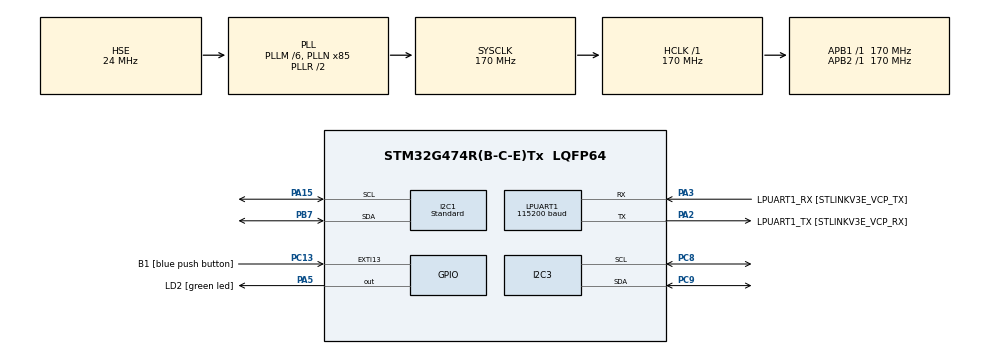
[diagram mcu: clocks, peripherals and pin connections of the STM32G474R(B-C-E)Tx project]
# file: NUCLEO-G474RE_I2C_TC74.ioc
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I2C1.I2C_Speed_Mode=I2C_Standard
I2C1.Timing=0x30A0A7FB
I2C3.Timing=0x30A0A7FB
LPUART1.BaudRate=115200
LPUART1.WordLength=UART_WORDLENGTH_8B
Mcu.Family=STM32G4
Mcu.Name=STM32G474R(B-C-E)Tx
Mcu.Package=LQFP64
NVIC.EXTI15_10_IRQn=true\:0\:0\:false\:false\:true\:true\:true\:true
NVIC.PriorityGroup=NVIC_PRIORITYGROUP_4
PA13.GPIO_Label=T_SWDIO
PA13.Mode=Trace_Asynchronous_SW
PA13.Signal=SYS_JTMS-SWDIO
PA14.GPIO_Label=T_SWCLK
PA14.Mode=Trace_Asynchronous_SW
PA14.Signal=SYS_JTCK-SWCLK
PA15.Mode=I2C
PA15.Signal=I2C1_SCL
PA2.GPIO_Label=LPUART1_TX [STLINKV3E_VCP_RX]
PA2.Mode=Asynchronous
PA2.Signal=LPUART1_TX
PA3.GPIO_Label=LPUART1_RX [STLINKV3E_VCP_TX]
PA3.Mode=Asynchronous
PA3.Signal=LPUART1_RX
PA5.GPIO_Label=LD2 [green led]
PA5.Signal=GPIO_Output
PB3.GPIO_Label=T_SWO
PB3.Mode=Trace_Asynchronous_SW
PB3.Signal=SYS_JTDO-SWO
PB7.Mode=I2C
PB7.Signal=I2C1_SDA
PC13.GPIO_Label=B1 [blue push button]
PC13.Signal=GPXTI13
PC14-OSC32_IN.Mode=LSE-External-Oscillator
PC14-OSC32_IN.Signal=RCC_OSC32_IN
PC15-OSC32_OUT.Mode=LSE-External-Oscillator
PC15-OSC32_OUT.Signal=RCC_OSC32_OUT
PC8.Mode=I2C
PC8.Signal=I2C3_SCL
PC9.Mode=I2C
PC9.Signal=I2C3_SDA
PF0-OSC_IN.Mode=HSE-External-Oscillator
PF0-OSC_IN.Signal=RCC_OSC_IN
PF1-OSC_OUT.Mode=HSE-External-Oscillator
PF1-OSC_OUT.Signal=RCC_OSC_OUT
ProjectManager.HeapSize=0x200
ProjectManager.StackSize=0x400
ProjectManager.TargetToolchain=STM32CubeIDE
RCC.ADC12Freq_Value=170000000
RCC.ADC345Freq_Value=170000000
RCC.AHBFreq_Value=170000000
RCC.APB1Freq_Value=170000000
RCC.APB1TimFreq_Value=170000000
RCC.APB2Freq_Value=170000000
RCC.APB2TimFreq_Value=170000000
RCC.CortexFreq_Value=170000000
RCC.EXTERNAL_CLOCK_VALUE=12288000
RCC.HCLKFreq_Value=170000000
RCC.HSE_VALUE=24000000
RCC.HSI48_VALUE=48000000
RCC.HSI_VALUE=16000000
RCC.PLLM=RCC_PLLM_DIV6
RCC.PLLN=85
RCC.PLLSourceVirtual=RCC_PLLSOURCE_HSE
RCC.RTCClockSelection=RCC_RTCCLKSOURCE_LSE
RCC.SYSCLKFreq_VALUE=170000000
RCC.SYSCLKSource=RCC_SYSCLKSOURCE_PLLCLK
RCC.USBFreq_Value=170000000
RCC.VCOOutputFreq_Value=340000000
VP_SYS_VS_DBSignals.Mode=DisableDeadBatterySignals
board=NUCLEO-G474RE

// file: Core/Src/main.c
/* USER CODE BEGIN Header */
/**
 ******************************************************************************
 * @file           : main.c
 * @brief          : Main program body
 ******************************************************************************
 * @attention
 *
 * Copyright (c) 2023 STMicroelectronics.
 * All rights reserved.
 *
 * This software is licensed under terms that can be found in the LICENSE file
 * in the root directory of this software component.
 * If no LICENSE file comes with this software, it is provided AS-IS.
 *
 ******************************************************************************
 */
/* USER CODE END Header */
#include "main.h"

/* USER CODE BEGIN Includes */

#include <stdio.h>

/* USER CODE END Includes */

I2C_HandleTypeDef hi2c1;
I2C_HandleTypeDef hi2c3;

UART_HandleTypeDef hlpuart1;

void SystemClock_Config(void);
static void MX_GPIO_Init(void);
static void MX_LPUART1_UART_Init(void);
static void MX_I2C1_Init(void);
static void MX_I2C3_Init(void);
/* USER CODE BEGIN PFP */

#define PUTCHAR_PROTOTYPE int __io_putchar(int ch)

/* USER CODE END PFP */

int main(void)
{

  /* MCU Configuration--------------------------------------------------------*/

  /* Reset of all peripherals, Initializes the Flash interface and the Systick. */
  HAL_Init();

  /* Configure the system clock */
  SystemClock_Config();

  /* Initialize all configured peripherals */
  MX_GPIO_Init();
  MX_LPUART1_UART_Init();
  MX_I2C1_Init();
  MX_I2C3_Init();
  /* USER CODE BEGIN 2 */

	printf("\n\n=======================================\n");
	printf("Start >> NUCLEO-G474RE_I2C_TC74 \n");

	printf("Scanning I2C bus:......... \n");
	HAL_StatusTypeDef result;
	uint8_t cntr, numdetected = 0, detecteddevices[128], TC74_devices = 0;

	for (cntr = 1; cntr < 128; cntr++)
	{
		/*
		 * the HAL wants a left aligned i2c address
		 * &hi2c1 is the handle
		 * (uint16_t)(i<<1) is the i2c address left aligned
		 * retries 2
		 * timeout 2
		 */
		result = HAL_I2C_IsDeviceReady(&hi2c3, (uint16_t)(cntr << 1), 2, 2);
		if (result != HAL_OK) // HAL_ERROR or HAL_BUSY or HAL_TIMEOUT
		{
			//		  printf("."); // No ACK received at that address
			printf("0x%X = ", cntr); printf("  = NOK \n");
		}
		if (result == HAL_OK)
		{
			printf("0x%X = ", cntr); printf("  =  OK ===============================\n");
			detecteddevices[numdetected] = cntr;
			numdetected++;
			if((cntr >= 0x48) && (cntr <= 0x4f))
				TC74_devices++;
		}
	}

	printf("Number of devices detected : %d\n", numdetected);
	for (cntr = 0; cntr < numdetected; cntr++)
	{
		printf("addresses detected : 0x%X\n", detecteddevices[cntr]);
	}

	printf("Number of TC74 devices detected : %d\n", TC74_devices);
	uint8_t temperature;
	for (cntr = 0; cntr < TC74_devices; )
	{
		if((detecteddevices[cntr] >= 0x48) && (detecteddevices[cntr] <= 0x4f))
		{
			result = HAL_I2C_Master_Receive(&hi2c3, (uint16_t) (detecteddevices[cntr] << 1), &temperature,  1, 10);
			if (result != HAL_OK) // HAL_ERROR or HAL_BUSY or HAL_TIMEOUT
			{
				printf("Error HAL_I2C_Master_Receive \n");
			}
			else if (result == HAL_OK)
			{
				printf("TC74 device address : 0x%X / ", detecteddevices[cntr]);
				printf("temperature = %d \n", temperature);
			}
			cntr++;
		}

	}

	printf("HAL_I2C_Mem_Read \n");

	result = HAL_I2C_Mem_Read(&hi2c3, 0x4d << 1,  0, 1, &temperature, 1, 10);
	if (result != HAL_OK) // HAL_ERROR or HAL_BUSY or HAL_TIMEOUT
	{
		printf("Error HAL_I2C_Mem_Read \n");
	}
	else if (result == HAL_OK)
	{
		printf("temperature = %d \n", temperature);
	}

	printf("HAL_I2C_Mem_Write \n");
	uint8_t data = 0x80;

	result = HAL_I2C_Mem_Write(&hi2c3, 0x4d << 1,  1, 1, &data, 1, 10);
	if (result != HAL_OK) // HAL_ERROR or HAL_BUSY or HAL_TIMEOUT
	{
		printf("Error HAL_I2C_Mem_Write \n");
	}
	else if (result == HAL_OK)
	{
		printf("OK HAL_I2C_Mem_Write \n");
	}

	printf("End   >> NUCLEO-G474RE_I2C_TC74 \n");

  /* USER CODE END 2 */

  /* Infinite loop */
	while (1)
	{

	}
}

void SystemClock_Config(void)
{
  RCC_OscInitTypeDef RCC_OscInitStruct = {0};
  RCC_ClkInitTypeDef RCC_ClkInitStruct = {0};

  /** Configure the main internal regulator output voltage
  */
  HAL_PWREx_ControlVoltageScaling(PWR_REGULATOR_VOLTAGE_SCALE1_BOOST);

  /** Initializes the RCC Oscillators according to the specified parameters
  * in the RCC_OscInitTypeDef structure.
  */
  RCC_OscInitStruct.OscillatorType = RCC_OSCILLATORTYPE_HSE;
  RCC_OscInitStruct.HSEState = RCC_HSE_ON;
  RCC_OscInitStruct.PLL.PLLState = RCC_PLL_ON;
  RCC_OscInitStruct.PLL.PLLSource = RCC_PLLSOURCE_HSE;
  RCC_OscInitStruct.PLL.PLLM = RCC_PLLM_DIV6;
  RCC_OscInitStruct.PLL.PLLN = 85;
  RCC_OscInitStruct.PLL.PLLP = RCC_PLLP_DIV2;
  RCC_OscInitStruct.PLL.PLLQ = RCC_PLLQ_DIV2;
  RCC_OscInitStruct.PLL.PLLR = RCC_PLLR_DIV2;
  if (HAL_RCC_OscConfig(&RCC_OscInitStruct) != HAL_OK)
  {
    Error_Handler();
  }

  /** Initializes the CPU, AHB and APB buses clocks
  */
  RCC_ClkInitStruct.ClockType = RCC_CLOCKTYPE_HCLK|RCC_CLOCKTYPE_SYSCLK
                              |RCC_CLOCKTYPE_PCLK1|RCC_CLOCKTYPE_PCLK2;
  RCC_ClkInitStruct.SYSCLKSource = RCC_SYSCLKSOURCE_PLLCLK;
  RCC_ClkInitStruct.AHBCLKDivider = RCC_SYSCLK_DIV1;
  RCC_ClkInitStruct.APB1CLKDivider = RCC_HCLK_DIV1;
  RCC_ClkInitStruct.APB2CLKDivider = RCC_HCLK_DIV1;

  if (HAL_RCC_ClockConfig(&RCC_ClkInitStruct, FLASH_LATENCY_4) != HAL_OK)
  {
    Error_Handler();
  }
}

static void MX_I2C1_Init(void)
{

  hi2c1.Instance = I2C1;
  hi2c1.Init.Timing = 0x30A0A7FB;
  hi2c1.Init.OwnAddress1 = 0;
  hi2c1.Init.AddressingMode = I2C_ADDRESSINGMODE_7BIT;
  hi2c1.Init.DualAddressMode = I2C_DUALADDRESS_DISABLE;
  hi2c1.Init.OwnAddress2 = 0;
  hi2c1.Init.OwnAddress2Masks = I2C_OA2_NOMASK;
  hi2c1.Init.GeneralCallMode = I2C_GENERALCALL_DISABLE;
  hi2c1.Init.NoStretchMode = I2C_NOSTRETCH_DISABLE;
  if (HAL_I2C_Init(&hi2c1) != HAL_OK)
  {
    Error_Handler();
  }

  /** Configure Analogue filter
  */
  if (HAL_I2CEx_ConfigAnalogFilter(&hi2c1, I2C_ANALOGFILTER_ENABLE) != HAL_OK)
  {
    Error_Handler();
  }

  /** Configure Digital filter
  */
  if (HAL_I2CEx_ConfigDigitalFilter(&hi2c1, 0) != HAL_OK)
  {
    Error_Handler();
  }

}

static void MX_I2C3_Init(void)
{

  hi2c3.Instance = I2C3;
  hi2c3.Init.Timing = 0x30A0A7FB;
  hi2c3.Init.OwnAddress1 = 0;
  hi2c3.Init.AddressingMode = I2C_ADDRESSINGMODE_7BIT;
  hi2c3.Init.DualAddressMode = I2C_DUALADDRESS_DISABLE;
  hi2c3.Init.OwnAddress2 = 0;
  hi2c3.Init.OwnAddress2Masks = I2C_OA2_NOMASK;
  hi2c3.Init.GeneralCallMode = I2C_GENERALCALL_DISABLE;
  hi2c3.Init.NoStretchMode = I2C_NOSTRETCH_DISABLE;
  if (HAL_I2C_Init(&hi2c3) != HAL_OK)
  {
    Error_Handler();
  }

  /** Configure Analogue filter
  */
  if (HAL_I2CEx_ConfigAnalogFilter(&hi2c3, I2C_ANALOGFILTER_ENABLE) != HAL_OK)
  {
    Error_Handler();
  }

  /** Configure Digital filter
  */
  if (HAL_I2CEx_ConfigDigitalFilter(&hi2c3, 0) != HAL_OK)
  {
    Error_Handler();
  }

}

static void MX_LPUART1_UART_Init(void)
{

  hlpuart1.Instance = LPUART1;
  hlpuart1.Init.BaudRate = 115200;
  hlpuart1.Init.WordLength = UART_WORDLENGTH_8B;
  hlpuart1.Init.StopBits = UART_STOPBITS_1;
  hlpuart1.Init.Parity = UART_PARITY_NONE;
  hlpuart1.Init.Mode = UART_MODE_TX_RX;
  hlpuart1.Init.HwFlowCtl = UART_HWCONTROL_NONE;
  hlpuart1.Init.OneBitSampling = UART_ONE_BIT_SAMPLE_DISABLE;
  hlpuart1.Init.ClockPrescaler = UART_PRESCALER_DIV1;
  hlpuart1.AdvancedInit.AdvFeatureInit = UART_ADVFEATURE_NO_INIT;
  if (HAL_UART_Init(&hlpuart1) != HAL_OK)
  {
    Error_Handler();
  }
  if (HAL_UARTEx_SetTxFifoThreshold(&hlpuart1, UART_TXFIFO_THRESHOLD_1_8) != HAL_OK)
  {
    Error_Handler();
  }
  if (HAL_UARTEx_SetRxFifoThreshold(&hlpuart1, UART_RXFIFO_THRESHOLD_1_8) != HAL_OK)
  {
    Error_Handler();
  }
  if (HAL_UARTEx_DisableFifoMode(&hlpuart1) != HAL_OK)
  {
    Error_Handler();
  }

}

static void MX_GPIO_Init(void)
{
  GPIO_InitTypeDef GPIO_InitStruct = {0};

  /* GPIO Ports Clock Enable */
  __HAL_RCC_GPIOC_CLK_ENABLE();
  __HAL_RCC_GPIOF_CLK_ENABLE();
  __HAL_RCC_GPIOA_CLK_ENABLE();
  __HAL_RCC_GPIOB_CLK_ENABLE();

  /*Configure GPIO pin Output Level */
  HAL_GPIO_WritePin(LD2_GPIO_Port, LD2_Pin, GPIO_PIN_RESET);

  /*Configure GPIO pin : B1_Pin */
  GPIO_InitStruct.Pin = B1_Pin;
  GPIO_InitStruct.Mode = GPIO_MODE_IT_RISING;
  GPIO_InitStruct.Pull = GPIO_NOPULL;
  HAL_GPIO_Init(B1_GPIO_Port, &GPIO_InitStruct);

  /*Configure GPIO pin : LD2_Pin */
  GPIO_InitStruct.Pin = LD2_Pin;
  GPIO_InitStruct.Mode = GPIO_MODE_OUTPUT_PP;
  GPIO_InitStruct.Pull = GPIO_NOPULL;
  GPIO_InitStruct.Speed = GPIO_SPEED_FREQ_LOW;
  HAL_GPIO_Init(LD2_GPIO_Port, &GPIO_InitStruct);

  /* EXTI interrupt init*/
  HAL_NVIC_SetPriority(EXTI15_10_IRQn, 0, 0);
  HAL_NVIC_EnableIRQ(EXTI15_10_IRQn);

}

/* USER CODE BEGIN 4 */

PUTCHAR_PROTOTYPE
{
	/* Place your implementation of fputc here */
	/* e.g. write a character to the LPUART1 and Loop until the end of transmission */
	HAL_UART_Transmit(&hlpuart1, (uint8_t *)&ch, 1, 0xFFFF);

	return ch;
}

/* USER CODE END 4 */

void Error_Handler(void)
{
	__disable_irq();
	while (1)
	{
	}
}
